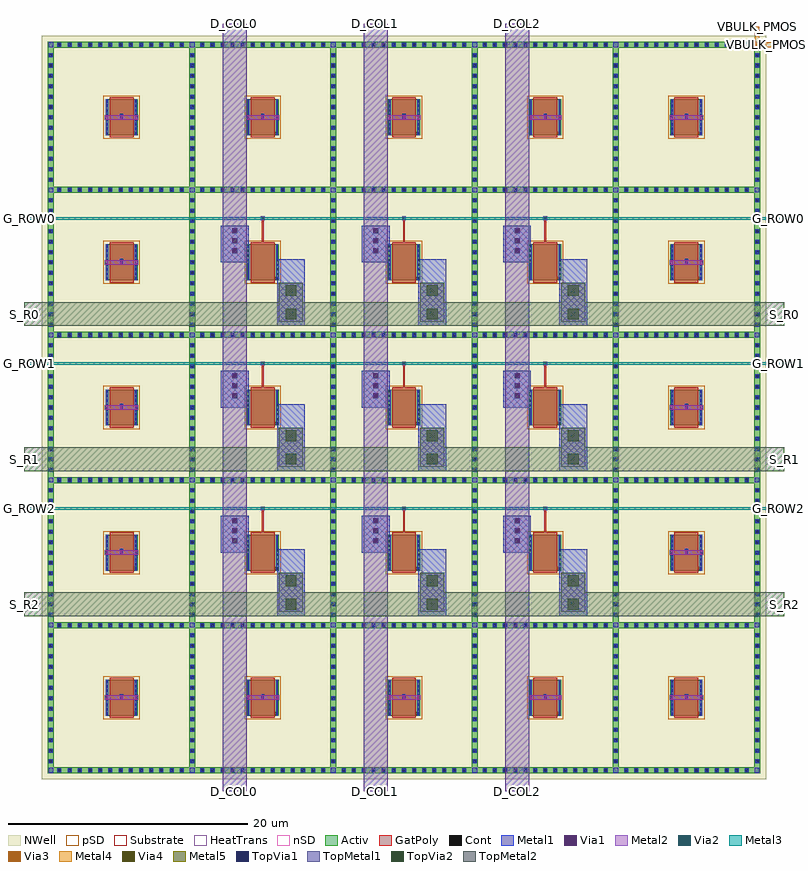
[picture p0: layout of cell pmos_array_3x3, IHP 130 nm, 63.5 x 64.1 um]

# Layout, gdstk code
import gdstk
lib = gdstk.Library(unit=1e-6, precision=1e-09)
def R(c, l, rs):  # rectangles x0, y0, x1, y1
    for r in rs: c.add(gdstk.rectangle(r[:2], r[2:], *l))
def A(c, l, x, y, w, h, nx, ny, dx, dy):  # array of equal rectangles
    R(c, l, [(x+i*dx, y+j*dy, x+i*dx+w, y+j*dy+h) for i in range(nx) for j in range(ny)])
Activ = (1, 0)
GatPoly = (5, 0)
Cont = (6, 0)
nSD = (7, 0)
Metal1 = (8, 0)
Metal2 = (10, 0)
pSD = (14, 0)
Via1 = (19, 0)
Via2 = (29, 0)
Metal3 = (30, 0)
NWell = (31, 0)
Substrate = (40, 0)
Via3 = (49, 0)
Metal4 = (50, 0)
HeatTrans = (51, 0)
Via4 = (66, 0)
Metal5 = (67, 0)
TopVia1 = (125, 0)
TopMetal1 = (126, 0)
TopVia2 = (133, 0)
TopMetal2 = (134, 0)

pmos = lib.new_cell('pmos')
R(pmos, Activ, [(0,0,0.3,0.3), (0,0,2.68,3), (2.38,0,2.68,0.3)])
R(pmos, GatPoly, [(0.34,-0.18,2.34,3.18), (0.34,-0.18,2.34,3.18)])
A(pmos, Cont, 0.07, 0.07, 0.16, 0.16, 1, 7, 0, 0.385)
A(pmos, Cont, 2.45, 0.07, 0.16, 0.16, 1, 7, 0, 0.385)
R(pmos, Cont, [(0.07,2.77,0.23,2.93), (2.45,2.77,2.61,2.93)])
R(pmos, Metal1, [(0.07,0,0.23,3), (0.07,0,0.23,3), (2.45,0,2.61,3), (2.45,0,2.61,3)])
R(pmos, pSD, [(-0.18,-0.3,2.86,3.3)])
R(pmos, NWell, [(-0.31,-0.31,2.99,3.31)])
R(pmos, Substrate, [(2.38,0,2.68,0.3)])
R(pmos, HeatTrans, [(0.34,-0.18,2.34,3.18)])
pmos.add(gdstk.Label('pmos', (1.34,1.5), layer=63, texttype=0))
pmos.add(gdstk.Label('pmos', (1.34,1.5), layer=51, texttype=0))

pmos_array_3x3 = lib.new_cell('pmos_array_3x3')
A(pmos_array_3x3, Activ, 0, 0, 0.5, 61.1, 6, 1, 11.8, 0)
A(pmos_array_3x3, Activ, 0, 0, 59.5, 0.5, 1, 6, 0, 12.12)
A(pmos_array_3x3, GatPoly, 6.085, 6.31, 0.13, 0.3, 5, 2, 11.8, 48.48)
A(pmos_array_3x3, GatPoly, 6.085, 18.43, 0.13, 0.3, 1, 3, 0, 12.12)
A(pmos_array_3x3, GatPoly, 53.285, 18.43, 0.13, 0.3, 1, 3, 0, 12.12)
A(pmos_array_3x3, GatPoly, 17.885, 20.11, 0.13, 2, 3, 3, 11.8, 12.12)
A(pmos_array_3x3, Cont, 0.852, 0.14, 0.22, 0.22, 3, 6, 0.852, 12.12)
A(pmos_array_3x3, Cont, 3.409, 0.14, 0.22, 0.22, 3, 6, 0.852, 12.12)
A(pmos_array_3x3, Cont, 5.966, 0.14, 0.22, 0.22, 3, 6, 0.852, 12.12)
A(pmos_array_3x3, Cont, 8.523, 0.14, 0.22, 0.22, 3, 6, 0.852, 12.12)
A(pmos_array_3x3, Cont, 11.08, 0.14, 0.22, 0.22, 1, 6, 0, 12.12)
A(pmos_array_3x3, Cont, 12.8, 0.14, 0.22, 0.22, 13, 6, 0.84, 12.12)
A(pmos_array_3x3, Cont, 24.6, 0.14, 0.22, 0.22, 13, 6, 0.84, 12.12)
A(pmos_array_3x3, Cont, 36.4, 0.14, 0.22, 0.22, 13, 6, 0.84, 12.12)
A(pmos_array_3x3, Cont, 48.2, 0.14, 0.22, 0.22, 13, 6, 0.84, 12.12)
A(pmos_array_3x3, Cont, 0.14, 0.876, 0.22, 0.22, 6, 13, 11.8, 0.877)
A(pmos_array_3x3, Cont, 6.04, 6.39, 0.22, 0.22, 5, 2, 11.8, 48.48)
A(pmos_array_3x3, Cont, 0.14, 13.12, 0.22, 0.22, 6, 2, 11.8, 0.866)
A(pmos_array_3x3, Cont, 0.14, 14.853, 0.22, 0.22, 6, 2, 11.8, 0.867)
A(pmos_array_3x3, Cont, 0.14, 16.586, 0.22, 0.22, 6, 3, 11.8, 0.867)
A(pmos_array_3x3, Cont, 6.04, 18.51, 0.22, 0.22, 1, 3, 0, 12.12)
A(pmos_array_3x3, Cont, 53.24, 18.51, 0.22, 0.22, 1, 3, 0, 12.12)
A(pmos_array_3x3, Cont, 0.14, 19.186, 0.22, 0.22, 6, 3, 11.8, 0.867)
A(pmos_array_3x3, Cont, 0.14, 21.786, 0.22, 0.22, 6, 3, 11.8, 0.867)
A(pmos_array_3x3, Cont, 17.84, 22, 0.22, 0.22, 3, 3, 11.8, 12.12)
A(pmos_array_3x3, Cont, 0.14, 25.24, 0.22, 0.22, 6, 2, 11.8, 0.866)
A(pmos_array_3x3, Cont, 0.14, 26.973, 0.22, 0.22, 6, 2, 11.8, 0.867)
A(pmos_array_3x3, Cont, 0.14, 28.706, 0.22, 0.22, 6, 3, 11.8, 0.867)
A(pmos_array_3x3, Cont, 0.14, 31.306, 0.22, 0.22, 6, 3, 11.8, 0.867)
A(pmos_array_3x3, Cont, 0.14, 33.906, 0.22, 0.22, 6, 3, 11.8, 0.867)
A(pmos_array_3x3, Cont, 0.14, 37.36, 0.22, 0.22, 6, 2, 11.8, 0.866)
A(pmos_array_3x3, Cont, 0.14, 39.093, 0.22, 0.22, 6, 2, 11.8, 0.867)
A(pmos_array_3x3, Cont, 0.14, 40.826, 0.22, 0.22, 6, 3, 11.8, 0.867)
A(pmos_array_3x3, Cont, 0.14, 43.426, 0.22, 0.22, 6, 3, 11.8, 0.867)
A(pmos_array_3x3, Cont, 0.14, 46.026, 0.22, 0.22, 6, 3, 11.8, 0.867)
A(pmos_array_3x3, Cont, 0.14, 49.48, 0.22, 0.22, 6, 2, 11.8, 0.866)
A(pmos_array_3x3, Cont, 0.14, 51.213, 0.22, 0.22, 6, 2, 11.8, 0.867)
A(pmos_array_3x3, Cont, 0.14, 52.946, 0.22, 0.22, 6, 3, 11.8, 0.867)
A(pmos_array_3x3, Cont, 0.14, 55.546, 0.22, 0.22, 6, 3, 11.8, 0.867)
A(pmos_array_3x3, Cont, 0.14, 58.146, 0.22, 0.22, 6, 3, 11.8, 0.867)
A(pmos_array_3x3, nSD, 0, 0, 0.5, 61.1, 6, 1, 11.8, 0)
A(pmos_array_3x3, nSD, 0, 0, 59.5, 0.5, 1, 6, 0, 12.12)
A(pmos_array_3x3, Metal1, 0.05, 0.05, 0.4, 0.4, 6, 6, 11.8, 12.12)
A(pmos_array_3x3, Metal1, 0.792, 0.08, 0.34, 0.34, 3, 6, 0.852, 12.12)
A(pmos_array_3x3, Metal1, 3.349, 0.08, 0.34, 0.34, 3, 6, 0.852, 12.12)
A(pmos_array_3x3, Metal1, 5.906, 0.08, 0.34, 0.34, 3, 6, 0.852, 12.12)
A(pmos_array_3x3, Metal1, 8.463, 0.08, 0.34, 0.34, 3, 6, 0.852, 12.12)
A(pmos_array_3x3, Metal1, 11.02, 0.08, 0.34, 0.34, 1, 6, 0, 12.12)
A(pmos_array_3x3, Metal1, 12.74, 0.08, 0.34, 0.34, 13, 6, 0.84, 12.12)
A(pmos_array_3x3, Metal1, 24.54, 0.08, 0.34, 0.34, 13, 6, 0.84, 12.12)
A(pmos_array_3x3, Metal1, 36.34, 0.08, 0.34, 0.34, 13, 6, 0.84, 12.12)
A(pmos_array_3x3, Metal1, 48.14, 0.08, 0.34, 0.34, 13, 6, 0.84, 12.12)
A(pmos_array_3x3, Metal1, 0.08, 0.816, 0.34, 0.34, 6, 13, 11.8, 0.877)
A(pmos_array_3x3, Metal1, 6.01, 6.13, 0.28, 0.48, 5, 2, 11.8, 48.48)
A(pmos_array_3x3, Metal1, 0.08, 13.06, 0.34, 0.34, 6, 2, 11.8, 0.866)
A(pmos_array_3x3, Metal1, 19.14, 13.12, 2.32, 5.57, 3, 3, 11.8, 12.12)
A(pmos_array_3x3, Metal1, 0.08, 14.793, 0.34, 0.34, 6, 2, 11.8, 0.867)
A(pmos_array_3x3, Metal1, 0.08, 16.526, 0.34, 0.34, 6, 3, 11.8, 0.867)
A(pmos_array_3x3, Metal1, 6.01, 18.25, 0.28, 0.48, 1, 3, 0, 12.12)
A(pmos_array_3x3, Metal1, 53.21, 18.25, 0.28, 0.48, 1, 3, 0, 12.12)
A(pmos_array_3x3, Metal1, 14.44, 18.43, 2.32, 3.06, 3, 3, 11.8, 12.12)
A(pmos_array_3x3, Metal1, 0.08, 19.126, 0.34, 0.34, 6, 3, 11.8, 0.867)
A(pmos_array_3x3, Metal1, 0.08, 21.726, 0.34, 0.34, 6, 3, 11.8, 0.867)
A(pmos_array_3x3, Metal1, 17.79, 21.95, 0.32, 0.32, 3, 3, 11.8, 12.12)
A(pmos_array_3x3, Metal1, 0.08, 25.18, 0.34, 0.34, 6, 2, 11.8, 0.866)
A(pmos_array_3x3, Metal1, 0.08, 26.913, 0.34, 0.34, 6, 2, 11.8, 0.867)
A(pmos_array_3x3, Metal1, 0.08, 28.646, 0.34, 0.34, 6, 3, 11.8, 0.867)
A(pmos_array_3x3, Metal1, 0.08, 31.246, 0.34, 0.34, 6, 3, 11.8, 0.867)
A(pmos_array_3x3, Metal1, 0.08, 33.846, 0.34, 0.34, 6, 3, 11.8, 0.867)
A(pmos_array_3x3, Metal1, 0.08, 37.3, 0.34, 0.34, 6, 2, 11.8, 0.866)
A(pmos_array_3x3, Metal1, 0.08, 39.033, 0.34, 0.34, 6, 2, 11.8, 0.867)
A(pmos_array_3x3, Metal1, 0.08, 40.766, 0.34, 0.34, 6, 3, 11.8, 0.867)
A(pmos_array_3x3, Metal1, 0.08, 43.366, 0.34, 0.34, 6, 3, 11.8, 0.867)
A(pmos_array_3x3, Metal1, 0.08, 45.966, 0.34, 0.34, 6, 3, 11.8, 0.867)
A(pmos_array_3x3, Metal1, 0.08, 49.42, 0.34, 0.34, 6, 2, 11.8, 0.866)
A(pmos_array_3x3, Metal1, 0.08, 51.153, 0.34, 0.34, 6, 2, 11.8, 0.867)
A(pmos_array_3x3, Metal1, 0.08, 52.886, 0.34, 0.34, 6, 3, 11.8, 0.867)
A(pmos_array_3x3, Metal1, 0.08, 55.486, 0.34, 0.34, 6, 3, 11.8, 0.867)
A(pmos_array_3x3, Metal1, 0.08, 58.086, 0.34, 0.34, 6, 3, 11.8, 0.867)
A(pmos_array_3x3, Metal2, 4.76, 6.13, 2.78, 0.36, 5, 2, 11.8, 48.48)
A(pmos_array_3x3, Metal2, 20.145, 13.965, 0.31, 0.31, 3, 2, 11.8, 1.96)
A(pmos_array_3x3, Metal2, 4.76, 18.25, 2.78, 0.36, 1, 3, 0, 12.12)
A(pmos_array_3x3, Metal2, 51.96, 18.25, 2.78, 0.36, 1, 3, 0, 12.12)
A(pmos_array_3x3, Metal2, 15.445, 19.255, 0.31, 0.31, 3, 3, 11.8, 0.84)
A(pmos_array_3x3, Metal2, 17.805, 21.965, 0.29, 0.29, 3, 3, 11.8, 12.12)
A(pmos_array_3x3, Metal2, 20.145, 26.085, 0.31, 0.31, 3, 2, 11.8, 1.96)
A(pmos_array_3x3, Metal2, 15.445, 31.375, 0.31, 0.31, 3, 3, 11.8, 0.84)
A(pmos_array_3x3, Metal2, 20.145, 38.205, 0.31, 0.31, 3, 2, 11.8, 1.96)
A(pmos_array_3x3, Metal2, 15.445, 43.495, 0.31, 0.31, 3, 3, 11.8, 0.84)
R(pmos_array_3x3, Metal2, [(59.07,60.67,59.43,61.03)])
A(pmos_array_3x3, Via1, 4.865, 6.215, 0.19, 0.19, 3, 5, 1.19, 12.12)
A(pmos_array_3x3, Via1, 16.665, 6.215, 0.19, 0.19, 3, 2, 1.19, 48.48)
A(pmos_array_3x3, Via1, 28.465, 6.215, 0.19, 0.19, 3, 2, 1.19, 48.48)
A(pmos_array_3x3, Via1, 40.265, 6.215, 0.19, 0.19, 3, 2, 1.19, 48.48)
A(pmos_array_3x3, Via1, 52.065, 6.215, 0.19, 0.19, 3, 5, 1.19, 12.12)
A(pmos_array_3x3, Via1, 20.205, 14.025, 0.19, 0.19, 3, 2, 11.8, 1.96)
A(pmos_array_3x3, Via1, 15.505, 19.315, 0.19, 0.19, 3, 3, 11.8, 0.84)
A(pmos_array_3x3, Via1, 17.855, 22.015, 0.19, 0.19, 3, 3, 11.8, 12.12)
A(pmos_array_3x3, Via1, 20.205, 26.145, 0.19, 0.19, 3, 2, 11.8, 1.96)
A(pmos_array_3x3, Via1, 15.505, 31.435, 0.19, 0.19, 3, 3, 11.8, 0.84)
A(pmos_array_3x3, Via1, 20.205, 38.265, 0.19, 0.19, 3, 2, 11.8, 1.96)
A(pmos_array_3x3, Via1, 15.505, 43.555, 0.19, 0.19, 3, 3, 11.8, 0.84)
R(pmos_array_3x3, Via1, [(59.155,60.755,59.345,60.945)])
A(pmos_array_3x3, Via2, 20.205, 14.025, 0.19, 0.19, 3, 2, 11.8, 1.96)
A(pmos_array_3x3, Via2, 15.505, 19.315, 0.19, 0.19, 3, 3, 11.8, 0.84)
A(pmos_array_3x3, Via2, 17.855, 22.015, 0.19, 0.19, 3, 3, 11.8, 12.12)
A(pmos_array_3x3, Via2, 20.205, 26.145, 0.19, 0.19, 3, 2, 11.8, 1.96)
A(pmos_array_3x3, Via2, 15.505, 31.435, 0.19, 0.19, 3, 3, 11.8, 0.84)
A(pmos_array_3x3, Via2, 20.205, 38.265, 0.19, 0.19, 3, 2, 11.8, 1.96)
A(pmos_array_3x3, Via2, 15.505, 43.555, 0.19, 0.19, 3, 3, 11.8, 0.84)
R(pmos_array_3x3, Via2, [(59.155,60.755,59.345,60.945)])
A(pmos_array_3x3, Metal3, 20.145, 13.965, 0.31, 0.31, 3, 2, 11.8, 1.96)
A(pmos_array_3x3, Metal3, 15.445, 19.255, 0.31, 0.31, 3, 3, 11.8, 0.84)
A(pmos_array_3x3, Metal3, -1.6, 22.01, 62.7, 0.2, 1, 3, 0, 12.12)
A(pmos_array_3x3, Metal3, 17.85, 22.01, 0.2, 0.2, 3, 3, 11.8, 12.12)
A(pmos_array_3x3, Metal3, 20.145, 26.085, 0.31, 0.31, 3, 2, 11.8, 1.96)
A(pmos_array_3x3, Metal3, 15.445, 31.375, 0.31, 0.31, 3, 3, 11.8, 0.84)
A(pmos_array_3x3, Metal3, 20.145, 38.205, 0.31, 0.31, 3, 2, 11.8, 1.96)
A(pmos_array_3x3, Metal3, 15.445, 43.495, 0.31, 0.31, 3, 3, 11.8, 0.84)
R(pmos_array_3x3, Metal3, [(59.15,60.75,59.35,60.95)])
R(pmos_array_3x3, NWell, [(-0.5,-0.5,60,61.6)])
A(pmos_array_3x3, Via3, 20.205, 14.025, 0.19, 0.19, 3, 2, 11.8, 1.96)
A(pmos_array_3x3, Via3, 15.505, 19.315, 0.19, 0.19, 3, 3, 11.8, 0.84)
A(pmos_array_3x3, Via3, 20.205, 26.145, 0.19, 0.19, 3, 2, 11.8, 1.96)
A(pmos_array_3x3, Via3, 15.505, 31.435, 0.19, 0.19, 3, 3, 11.8, 0.84)
A(pmos_array_3x3, Via3, 20.205, 38.265, 0.19, 0.19, 3, 2, 11.8, 1.96)
A(pmos_array_3x3, Via3, 15.505, 43.555, 0.19, 0.19, 3, 3, 11.8, 0.84)
R(pmos_array_3x3, Via3, [(59.155,60.755,59.345,60.945)])
A(pmos_array_3x3, Metal4, 20.145, 13.965, 0.31, 0.31, 3, 2, 11.8, 1.96)
A(pmos_array_3x3, Metal4, 15.445, 19.255, 0.31, 0.31, 3, 3, 11.8, 0.84)
A(pmos_array_3x3, Metal4, 20.145, 26.085, 0.31, 0.31, 3, 2, 11.8, 1.96)
A(pmos_array_3x3, Metal4, 15.445, 31.375, 0.31, 0.31, 3, 3, 11.8, 0.84)
A(pmos_array_3x3, Metal4, 20.145, 38.205, 0.31, 0.31, 3, 2, 11.8, 1.96)
A(pmos_array_3x3, Metal4, 15.445, 43.495, 0.31, 0.31, 3, 3, 11.8, 0.84)
R(pmos_array_3x3, Metal4, [(59.05,60.65,60.75,61.05), (59.05,60.65,59.45,62.35)])
A(pmos_array_3x3, Via4, 20.205, 14.025, 0.19, 0.19, 3, 2, 11.8, 1.96)
A(pmos_array_3x3, Via4, 15.505, 19.315, 0.19, 0.19, 3, 3, 11.8, 0.84)
A(pmos_array_3x3, Via4, 20.205, 26.145, 0.19, 0.19, 3, 2, 11.8, 1.96)
A(pmos_array_3x3, Via4, 15.505, 31.435, 0.19, 0.19, 3, 3, 11.8, 0.84)
A(pmos_array_3x3, Via4, 20.205, 38.265, 0.19, 0.19, 3, 2, 11.8, 1.96)
A(pmos_array_3x3, Via4, 15.505, 43.555, 0.19, 0.19, 3, 3, 11.8, 0.84)
A(pmos_array_3x3, Metal5, 20.145, 13.965, 0.31, 0.31, 3, 2, 11.8, 1.96)
A(pmos_array_3x3, Metal5, 15.445, 19.255, 0.31, 0.31, 3, 3, 11.8, 0.84)
A(pmos_array_3x3, Metal5, 20.145, 26.085, 0.31, 0.31, 3, 2, 11.8, 1.96)
A(pmos_array_3x3, Metal5, 15.445, 31.375, 0.31, 0.31, 3, 3, 11.8, 0.84)
A(pmos_array_3x3, Metal5, 20.145, 38.205, 0.31, 0.31, 3, 2, 11.8, 1.96)
A(pmos_array_3x3, Metal5, 15.445, 43.495, 0.31, 0.31, 3, 3, 11.8, 0.84)
A(pmos_array_3x3, TopVia1, 20.09, 13.91, 0.42, 0.42, 3, 2, 11.8, 1.96)
A(pmos_array_3x3, TopVia1, 15.39, 19.2, 0.42, 0.42, 3, 3, 11.8, 0.84)
A(pmos_array_3x3, TopVia1, 20.09, 26.03, 0.42, 0.42, 3, 2, 11.8, 1.96)
A(pmos_array_3x3, TopVia1, 15.39, 31.32, 0.42, 0.42, 3, 3, 11.8, 0.84)
A(pmos_array_3x3, TopVia1, 20.09, 38.15, 0.42, 0.42, 3, 2, 11.8, 1.96)
A(pmos_array_3x3, TopVia1, 15.39, 43.44, 0.42, 0.42, 3, 3, 11.8, 0.84)
A(pmos_array_3x3, TopMetal1, 14.6, -1.5, 2, 64.1, 3, 1, 11.8, 0)
A(pmos_array_3x3, TopMetal1, 19.3, 13.47, 2, 3.26, 3, 3, 11.8, 12.12)
A(pmos_array_3x3, TopMetal1, 14.6, 19.1, 2, 2.3, 3, 3, 11.8, 12.12)
A(pmos_array_3x3, TopVia2, 19.85, 13.67, 0.9, 0.9, 3, 2, 11.8, 1.96)
A(pmos_array_3x3, TopVia2, 19.85, 25.79, 0.9, 0.9, 3, 2, 11.8, 1.96)
A(pmos_array_3x3, TopVia2, 19.85, 37.91, 0.9, 0.9, 3, 2, 11.8, 1.96)
A(pmos_array_3x3, TopMetal2, -2, 13.12, 63.5, 2, 1, 3, 0, 12.12)
A(pmos_array_3x3, TopMetal2, 19.3, 13.47, 2, 3.26, 3, 3, 11.8, 12.12)
pmos_array_3x3.add(gdstk.Reference(pmos, (4.81,4.81)))
pmos_array_3x3.add(gdstk.Reference(pmos, (16.61,4.81)))
pmos_array_3x3.add(gdstk.Reference(pmos, (28.41,4.81)))
pmos_array_3x3.add(gdstk.Reference(pmos, (40.21,4.81)))
pmos_array_3x3.add(gdstk.Reference(pmos, (52.01,4.81)))
pmos_array_3x3.add(gdstk.Reference(pmos, (4.81,16.93)))
pmos_array_3x3.add(gdstk.Reference(pmos, (16.61,16.93)))
pmos_array_3x3.add(gdstk.Reference(pmos, (28.41,16.93)))
pmos_array_3x3.add(gdstk.Reference(pmos, (40.21,16.93)))
pmos_array_3x3.add(gdstk.Reference(pmos, (52.01,16.93)))
pmos_array_3x3.add(gdstk.Reference(pmos, (4.81,29.05)))
pmos_array_3x3.add(gdstk.Reference(pmos, (16.61,29.05)))
pmos_array_3x3.add(gdstk.Reference(pmos, (28.41,29.05)))
pmos_array_3x3.add(gdstk.Reference(pmos, (40.21,29.05)))
pmos_array_3x3.add(gdstk.Reference(pmos, (52.01,29.05)))
pmos_array_3x3.add(gdstk.Reference(pmos, (4.81,41.17)))
pmos_array_3x3.add(gdstk.Reference(pmos, (16.61,41.17)))
pmos_array_3x3.add(gdstk.Reference(pmos, (28.41,41.17)))
pmos_array_3x3.add(gdstk.Reference(pmos, (40.21,41.17)))
pmos_array_3x3.add(gdstk.Reference(pmos, (52.01,41.17)))
pmos_array_3x3.add(gdstk.Reference(pmos, (4.81,53.29)))
pmos_array_3x3.add(gdstk.Reference(pmos, (16.61,53.29)))
pmos_array_3x3.add(gdstk.Reference(pmos, (28.41,53.29)))
pmos_array_3x3.add(gdstk.Reference(pmos, (40.21,53.29)))
pmos_array_3x3.add(gdstk.Reference(pmos, (52.01,53.29)))
pmos_array_3x3.add(gdstk.Label('VBULK_PMOS', (60.75,60.85), layer=63, texttype=0))
pmos_array_3x3.add(gdstk.Label('VBULK_PMOS', (59.25,62.35), layer=63, texttype=0))
pmos_array_3x3.add(gdstk.Label('G_ROW2', (-1.5,22.11), layer=63, texttype=0))
pmos_array_3x3.add(gdstk.Label('G_ROW2', (61,22.11), layer=63, texttype=0))
pmos_array_3x3.add(gdstk.Label('G_ROW1', (-1.5,34.23), layer=63, texttype=0))
pmos_array_3x3.add(gdstk.Label('G_ROW1', (61,34.23), layer=63, texttype=0))
pmos_array_3x3.add(gdstk.Label('G_ROW0', (-1.5,46.35), layer=63, texttype=0))
pmos_array_3x3.add(gdstk.Label('G_ROW0', (61,46.35), layer=63, texttype=0))
pmos_array_3x3.add(gdstk.Label('D_COL0', (15.6,-1.5), layer=63, texttype=0))
pmos_array_3x3.add(gdstk.Label('D_COL0', (15.6,62.6), layer=63, texttype=0))
pmos_array_3x3.add(gdstk.Label('D_COL1', (27.4,-1.5), layer=63, texttype=0))
pmos_array_3x3.add(gdstk.Label('D_COL1', (27.4,62.6), layer=63, texttype=0))
pmos_array_3x3.add(gdstk.Label('D_COL2', (39.2,-1.5), layer=63, texttype=0))
pmos_array_3x3.add(gdstk.Label('D_COL2', (39.2,62.6), layer=63, texttype=0))
pmos_array_3x3.add(gdstk.Label('S_R2', (-2,14.12), layer=63, texttype=0))
pmos_array_3x3.add(gdstk.Label('S_R2', (61.5,14.12), layer=63, texttype=0))
pmos_array_3x3.add(gdstk.Label('S_R1', (-2,26.24), layer=63, texttype=0))
pmos_array_3x3.add(gdstk.Label('S_R1', (61.5,26.24), layer=63, texttype=0))
pmos_array_3x3.add(gdstk.Label('S_R0', (-2,38.36), layer=63, texttype=0))
pmos_array_3x3.add(gdstk.Label('S_R0', (61.5,38.36), layer=63, texttype=0))

lib.write_gds('pmos_array_3x3.gds')
